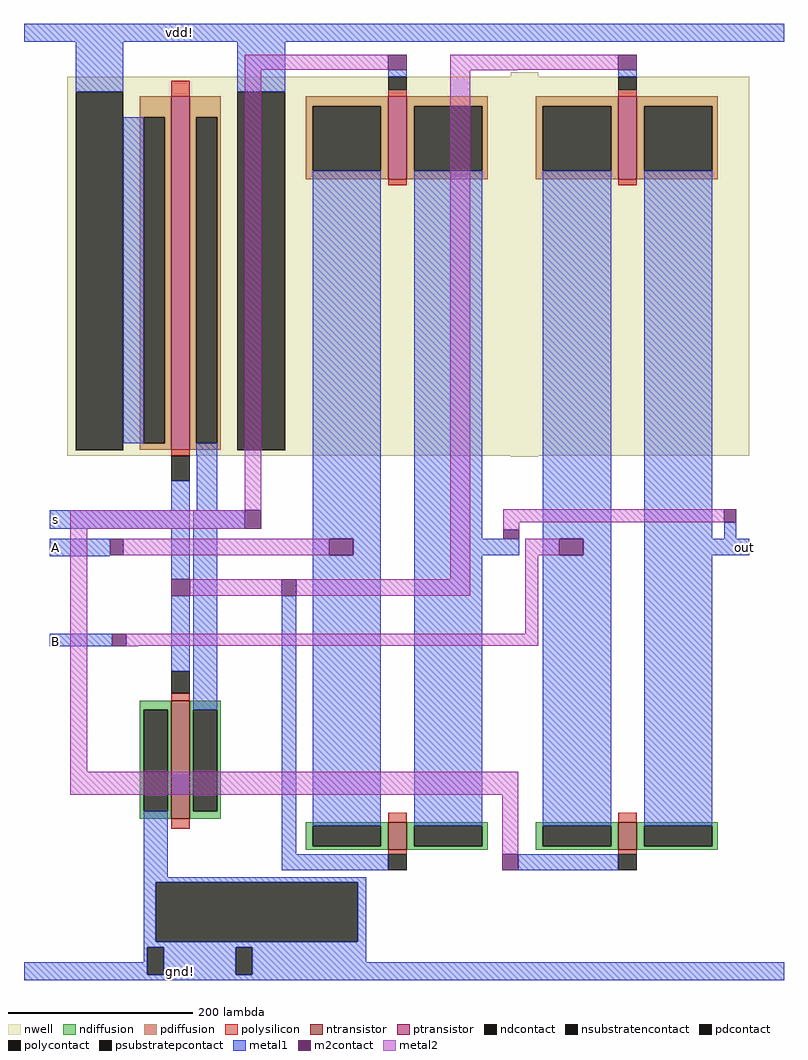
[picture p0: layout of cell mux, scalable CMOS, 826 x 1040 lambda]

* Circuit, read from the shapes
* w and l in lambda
.subckt mux A B gnd! out s vdd!
M1 n1 s gnd! gnd! nfet w=128 l=20
M2 out s A gnd! nfet w=30 l=20
M3 out n1 B gnd! nfet w=30 l=20
M4 n1 s vdd! vdd! pfet w=384 l=20
M5 out n1 A vdd! pfet w=90 l=20
M6 out s B vdd! pfet w=90 l=20
.ends

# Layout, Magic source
magic
tech scmos
<< nwell >>
rect 355 518 385 523
rect -127 106 614 518
rect 355 105 385 106
<< polysilicon >>
rect -14 497 6 514
rect -14 106 6 113
rect 222 497 242 504
rect 472 497 492 504
rect 222 400 242 407
rect 472 400 492 407
rect -14 -160 6 -152
rect -14 -299 6 -288
rect 222 -292 242 -282
rect 472 -292 492 -282
rect 222 -327 242 -322
rect 472 -327 492 -322
<< ndiffusion >>
rect -48 -170 -14 -160
rect -48 -280 -44 -170
rect -18 -280 -14 -170
rect -48 -288 -14 -280
rect 6 -170 40 -160
rect 6 -280 10 -170
rect 36 -280 40 -170
rect 6 -288 40 -280
rect 132 -296 222 -292
rect 132 -318 140 -296
rect 214 -318 222 -296
rect 132 -322 222 -318
rect 242 -296 330 -292
rect 242 -318 250 -296
rect 324 -318 330 -296
rect 242 -322 330 -318
rect 382 -296 472 -292
rect 382 -318 390 -296
rect 464 -318 472 -296
rect 382 -322 472 -318
rect 492 -296 580 -292
rect 492 -318 500 -296
rect 574 -318 580 -296
rect 492 -322 580 -318
<< pdiffusion >>
rect -48 474 -14 497
rect -48 120 -44 474
rect -21 120 -14 474
rect -48 113 -14 120
rect 6 474 40 497
rect 6 120 13 474
rect 36 120 40 474
rect 6 113 40 120
rect 132 486 222 497
rect 132 416 140 486
rect 214 416 222 486
rect 132 407 222 416
rect 242 486 330 497
rect 242 416 250 486
rect 324 416 330 486
rect 242 407 330 416
rect 382 486 472 497
rect 382 416 390 486
rect 464 416 472 486
rect 382 407 472 416
rect 492 486 580 497
rect 492 416 500 486
rect 574 416 580 486
rect 492 407 580 416
<< metal1 >>
rect -174 556 652 576
rect -118 502 -66 556
rect 58 502 110 556
rect 222 518 242 526
rect 472 518 492 526
rect -66 120 -44 474
rect 13 106 36 120
rect -14 47 6 79
rect 14 47 36 106
rect -146 27 6 47
rect -146 -2 -80 16
rect -146 -3 -81 -2
rect -14 -28 6 27
rect -146 -101 -78 -87
rect -14 -128 6 -46
rect 10 27 66 47
rect 10 -170 36 27
rect 140 16 214 416
rect 140 -2 158 16
rect 184 -2 214 16
rect -44 -352 -18 -280
rect 106 -327 122 -46
rect 140 -296 214 -2
rect 250 16 324 416
rect 250 -2 364 16
rect 390 16 464 416
rect 390 -2 408 16
rect 434 -2 464 16
rect 250 -296 324 -2
rect 390 -296 464 -2
rect 500 16 574 416
rect 587 16 600 34
rect 500 -2 614 16
rect 500 -296 574 -2
rect 106 -344 222 -327
rect 363 -344 472 -327
rect -44 -357 198 -352
rect -44 -422 -31 -357
rect 189 -422 198 -357
rect -44 -428 198 -422
rect -44 -444 -40 -428
rect -174 -458 -40 -444
rect -22 -458 56 -428
rect 74 -444 198 -428
rect 74 -458 652 -444
rect -174 -464 652 -458
<< metal2 >>
rect 66 526 222 542
rect 289 526 472 542
rect 66 47 84 526
rect -124 27 66 47
rect 289 525 362 526
rect -124 -237 -105 27
rect -66 -2 158 16
rect 289 -28 311 525
rect 347 34 587 48
rect 347 26 364 34
rect 6 -46 106 -28
rect 122 -46 311 -28
rect 371 -2 408 16
rect 371 -87 385 -2
rect -63 -100 385 -87
rect -63 -101 -50 -100
rect -124 -262 363 -237
rect 346 -327 363 -262
<< ntransistor >>
rect -14 -288 6 -160
rect 222 -322 242 -292
rect 472 -322 492 -292
<< ptransistor >>
rect -14 113 6 497
rect 222 407 242 497
rect 472 407 492 497
<< polycontact >>
rect 222 504 242 518
rect 472 504 492 518
rect -14 79 6 106
rect -14 -152 6 -128
rect 222 -344 242 -327
rect 472 -344 492 -327
<< ndcontact >>
rect -44 -280 -18 -170
rect 10 -280 36 -170
rect 140 -318 214 -296
rect 250 -318 324 -296
rect 390 -318 464 -296
rect 500 -318 574 -296
<< pdcontact >>
rect -44 120 -21 474
rect 13 120 36 474
rect 140 416 214 486
rect 250 416 324 486
rect 390 416 464 486
rect 500 416 574 486
<< m2contact >>
rect 222 526 242 542
rect 472 526 492 542
rect -80 -2 -66 16
rect -14 -46 6 -28
rect -78 -101 -63 -87
rect 66 27 84 47
rect 158 -2 184 16
rect 106 -46 122 -28
rect 347 16 364 26
rect 408 -2 434 16
rect 587 34 600 48
rect 346 -344 363 -327
<< psubstratepcontact >>
rect -31 -422 189 -357
rect -40 -458 -22 -428
rect 56 -458 74 -428
<< nsubstratencontact >>
rect -118 112 -66 502
rect 58 112 110 502
<< labels >>
rlabel metal1 -5 566 -5 566 1 vdd!
rlabel metal1 -4 -454 -4 -454 1 gnd!
rlabel metal1 609 7 609 7 1 out
rlabel metal1 -140 36 -139 37 1 s
rlabel metal1 -140 6 -139 7 1 A
rlabel metal1 -140 -96 -139 -95 1 B
<< end >>
